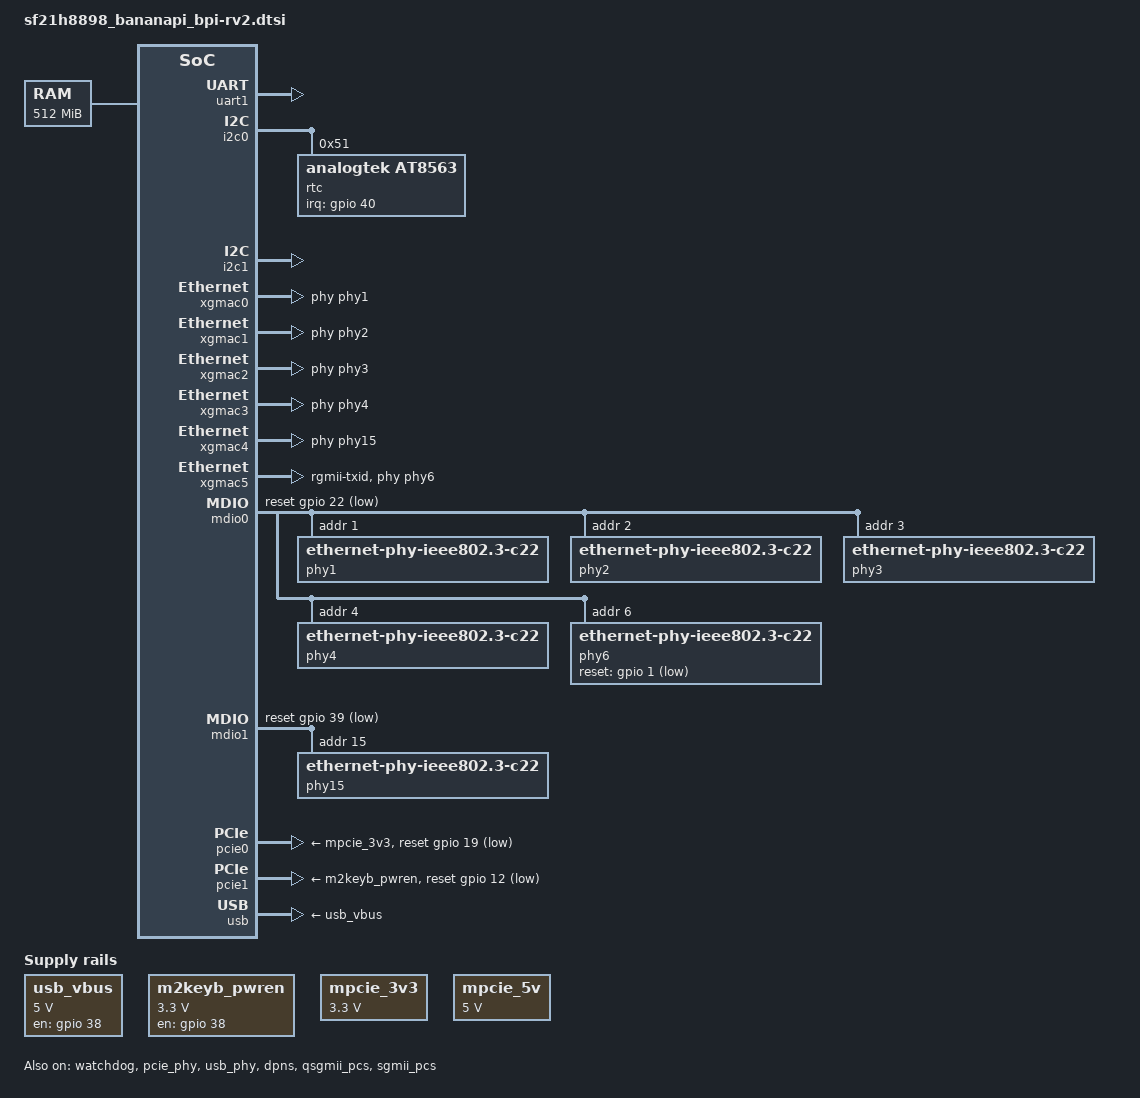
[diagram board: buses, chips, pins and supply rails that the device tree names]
// SPDX-License-Identifier: (GPL-2.0 OR MIT)
/dts-v1/;
#include "sf21h8898.dtsi"

/*
 * BPI-RV2 Board Device Tree — v3
 * Схема: BPI-RV2-V11-SCH-20241121
 * SOC: SF21H8898 (quad-core RISC-V 1.25GHz)
 *
 * ИЗМЕНЕНИЯ v3 относительно v2:
 *
 * [1] pcie0_perst_pins: FUNC_MODE2 → GPIO_MODE для GPIO15/GPIO16
 *     ПРИЧИНА: FUNC_MODE2 не документирован в User Manual v1.60 для
 *     GPIO15/16. Использование FUNC_MODE2 приводит к захвату PIN15
 *     драйвером pcie0, что блокирует I2C0 (RTC AT8563S перестаёт
 *     работать). В dmesg v2:
 *       "pin PIN15 already requested by 0.pcie; cannot claim for c100000.i2c"
 *       "i2c_designware c100000.i2c: Error applying setting"
 *     GPIO15 в GPIO_MODE с pull-up = CLKREQ# всегда HIGH (запрос clock),
 *     что для embedded достаточно — SF21 PCIe поднимает link без
 *     аппаратного clock gating. I2C0 получает свои пины обратно.
 *
 * [2] pcie0_clkreq_pin: отдельный pinctrl для GPIO15 как GPIO_MODE
 *     GPIO15 (I2C0_DAT/E1) → PCIE0_CLKREQ_N (mPCIe пин 7).
 *     Пин настроен как вход с pull-up. CLKREQ# по умолчанию HIGH
 *     = модуль запрашивает ref clock = clock всегда включён.
 *     Это стандартный режим для embedded без ASPM.
 *
 * [3] I2C0: убран pinctrl-0 конфликт
 *     I2C0 использует GPIO15/16 в FUNC_MODE0 (штатный режим).
 *     pinctrl для i2c0 назначается самим ядром из DT i2c0 узла,
 *     не нужно дублировать в pcie0. RTC AT8563S снова работает.
 *
 * [4] m2keyb_pwren: добавлен regulator-always-on
 *     ПРИЧИНА: в dmesg v2 через 32 секунды после старта:
 *       "m2keyb_pwren: disabling"
 *     Ядро выключает регулятор M.2 питания т.к. считает его
 *     неиспользуемым. FM350 теряет питание → PCIe link падает.
 *     regulator-always-on гарантирует что питание M.2 слота
 *     никогда не выключается автоматически.
 *
 * [5] pcie0: убран pcie0_perst_pins из pinctrl-0, добавлен
 *     pcie0_clkreq_pin. W_DISABLE# управляется через gpio-hog
 *     чтобы гарантировать HIGH до инициализации PCIe.
 *
 * [6] gpio-hog для W_DISABLE# (GPIO8):
 *     W_DISABLE# должен быть HIGH до снятия PERST#.
 *     gpio-hog обеспечивает это без участия драйвера.
 *
 * GPIO карта (схема BPI-RV2-V11-SCH-20241121 + User Manual v1.60):
 *  GPIO0  = EXT_CLK_IN  (P23) → PCIE0_WAKE#     (mPCIe пин 1,  IN)
 *  GPIO1  = CLK_OUT     (P1)  → 8211F_RGMII_RST (reset SF23P1211F)
 *  GPIO5  = SPI0_CSN    (L22) → CS NOR flash
 *  GPIO8  = JTAG_TDO    (G22) → PCIE0_W_DISABLE# (mPCIe пин 20, OUT)
 *  GPIO12 = JTAG_RST    (E22) → PCIE1_RST/PERST# (M.2 пин 50,  OUT)
 *  GPIO15 = I2C0_DAT    (E1)  → I2C0 SDA / PCIE0_CLKREQ# (mPCIe пин 7)
 *  GPIO16 = I2C0_CLK    (E2)  → I2C0 SCL / SMBus mPCIe пин 30
 *  GPIO19 = PWM0        (C1)  → PCIE0_PERST_N   (mPCIe пин 22, OUT)
 *  GPIO36 = SXGMII_MDIO (A5)  → CS NAND flash (GPIO_MODE)
 *  GPIO37 = SXGMII_MDC  (B5)  → SXGMII_MDC для mdio1
 *  GPIO38 = DGS_INT     (E23) → FULL_CARD_POFF_M2 (M.2 пин 6) + 5V_VBUS_EN
 *  GPIO39 = PHY_RESET_N (G1)  → nRESET_8811 (EN8811H reset)
 *  GPIO40 = PHY_INT     (G2)  → RTC AT8563S INT#
 *  GPIO10 = JTAG_TMS    (F22) → PCIE1_CLKREQ    (M.2 пин 52, IN)
 *  GPIO11 = JTAG_TCK    (G23) → PCIE1_PEWAKE    (M.2 пин 54, IN)
 */

/ {
	chosen {
		bootargs = "root=/dev/fit0 rootwait";
		stdout-path = "serial1:115200n8";
		rootdisk = <&rootdisk>;
	};

	memory@20000000 {
		device_type = "memory";
		/* 512MB DDR3 @ 0x20000000 */
		reg = <0x0 0x20000000 0x0 0x20000000>;
	};

	/*
	 * USB VBUS 5V для Type-A порта CN6.
	 * Схема P14: FL9703MR (500mA USB power switch), CE активен HIGH.
	 * GPIO38 → 5V_VBUS_EN → FL9703MR CE pin.
	 * GPIO38 разделён с FULL_CARD_POFF_M2 — физически один GPIO
	 * управляет и USB VBUS и питанием M.2 слота (схема P10).
	 */
	usb_vbus: regulator-usb-vbus {
		compatible = "regulator-fixed";
		regulator-name = "usb_vbus";
		regulator-min-microvolt = <5000000>;
		regulator-max-microvolt = <5000000>;
		gpios = <&gpio 38 GPIO_ACTIVE_HIGH>;
		enable-active-high;
	};

	/*
	 * Питание M.2 Key B слота (3V3_M2, схема P06, ETA8103 3A DCDC).
	 * FULL_CARD_POFF_M2 → GPIO38 (DGS_INT/E23) → M.2 пин 6.
	 * По стандарту M.2: пин 6 = Full_Card_Power_Off#
	 *   HIGH = питание включено (не выключать)
	 *   LOW  = выключить питание карты
	 * GPIO38 HIGH → M.2 пин 6 HIGH → питание M.2 ВКЛЮЧЕНО.
	 *
	 * regulator-always-on: КРИТИЧНО.
	 *   Без этого ядро выключает регулятор через ~32 секунды
	 *   (dmesg v2: "m2keyb_pwren: disabling"), что приводит к
	 *   потере питания FM350 и падению PCIe link.
	 *   vpcie3v3-supply в pcie1 не гарантирует удержание регулятора
	 *   если sf21-pcie драйвер не вызывает regulator_enable().
	 *
	 * regulator-boot-on: питание включается при старте до того,
	 *   как PCIe драйвер запрашивает его — нужно для правильной
	 *   инициализации FM350 (модем должен получить питание до PERST#).
	 */
	m2keyb_pwren: regulator-m2keyb {
		compatible = "regulator-fixed";
		regulator-name = "m2keyb_pwren";
		regulator-min-microvolt = <3300000>;
		regulator-max-microvolt = <3300000>;
		gpios = <&gpio 38 GPIO_ACTIVE_HIGH>;
		enable-active-high;
		regulator-always-on;
		regulator-boot-on;
	};

	/*
	 * Питание mPCIe слота 3.3V (3V3_mPCIE, схема P06, ETA8103 3A DCDC).
	 * На плате нет программного EN для 3V3_mPCIE → питание всегда
	 * подаётся при наличии 12V_SYS. Виртуальный регулятор без gpio.
	 *
	 * regulator-always-on: сообщает ядру что питание постоянно есть.
	 * regulator-boot-on: питание уже включено при старте ядра.
	 *
	 * vpcie3v3-supply в pcie0 ссылается на этот регулятор —
	 * ядро знает что 3.3V для mPCIe слота доступно и управляемо
	 * (хотя фактически оно always-on).
	 */
	mpcie_3v3: regulator-mpcie-3v3 {
		compatible = "regulator-fixed";
		regulator-name = "mpcie_3v3";
		regulator-min-microvolt = <3300000>;
		regulator-max-microvolt = <3300000>;
		regulator-always-on;
		regulator-boot-on;
	};

	/*
	 * Питание mPCIe слота 5V (5V0_mPCIE, схема P06, ETA8103 3A DCDC).
	 * Аналогично 3V3_mPCIE — нет программного EN, always-on.
	 * Нужен для vpcie5v-supply в pcie0.
	 */
	mpcie_5v: regulator-mpcie-5v {
		compatible = "regulator-fixed";
		regulator-name = "mpcie_5v";
		regulator-min-microvolt = <5000000>;
		regulator-max-microvolt = <5000000>;
		regulator-always-on;
		regulator-boot-on;
	};
};

/*
 * SPI0 пины без SPI0_CSN.
 * CSN (GPIO5) управляется через cs-gpios в dts файле.
 * GPIO36 (SXGMII_MDIO) используется как CS для NAND через cs-gpios.
 * SPI0_HOLD (GPIO6) и SPI0_WP (GPIO7) общие для обоих flash чипов.
 */
&spi0_pins {
	pinctrl-single,pins = <
		SPI0_TXD	FUNC_MODE0
		SPI0_RXD	FUNC_MODE0
		SPI0_CLK	FUNC_MODE0
		SPI0_HOLD	FUNC_MODE0
		SPI0_WP		FUNC_MODE0
	>;
};

&watchdog {
	status = "okay";
};

/*
 * UART1: основная консоль (схема P23).
 * GPIO13 (UART1_TX/D23) → HT42B534-2 (USB-UART) → USB Type-C CN4.
 * GPIO14 (UART1_RX/D22) → HT42B534-2.
 * Также выведен на 26-pin header J3 (пин 11=TX, пин 13=RX).
 */
&uart1 {
	status = "okay";
};

&iomux {
	/*
	 * RTC INT пин: GPIO40 (PHY_INT/G2) в GPIO_MODE.
	 * AT8563S INT# → GPIO40 через R131 4K7 pull-up к 3V3_CPU.
	 * Отключаем внутренний bias т.к. есть внешний pull-up.
	 */
	rtc_int_gpio: rtc-int-pins {
		pinctrl-single,pins = <PHY_INT GPIO_MODE>;
		pinctrl-single,bias-pullup   = <0 SW_PU 0 SW_PU>;
		pinctrl-single,bias-pulldown = <0 SW_PD 0 SW_PD>;
	};

	/*
	 * mPCIe CLKREQ# пин: GPIO15 (I2C0_DAT/E1) в GPIO_MODE.
	 *
	 * ПОЧЕМУ GPIO_MODE а не FUNC_MODE2:
	 *   User Manual v1.60 не документирует FUNC_MODE2 для GPIO15/16.
	 *   FUNC_MODE2 в v2 вызывал захват PIN15 pcie0 драйвером,
	 *   блокируя I2C0 (см. dmesg: "pin PIN15 already requested by 0.pcie").
	 *
	 * ПОЧЕМУ пин с pull-up достаточен:
	 *   CLKREQ# активен LOW — модуль тянет LOW чтобы запросить clock.
	 *   Pull-up держит HIGH когда модуль не вставлен или не активен.
	 *   SF21 PCIe контроллер поднимает link независимо от CLKREQ#
	 *   (ASPM не используется в OpenWrt на embedded).
	 *   Это стандартная практика: без ASPM CLKREQ# = постоянно HIGH,
	 *   ref clock всегда включён, link поднимается нормально.
	 *
	 * ПОЧЕМУ не мешает I2C0:
	 *   GPIO15 в GPIO_MODE как вход не конфликтует с I2C0 потому что
	 *   I2C0 переключает пин в FUNC_MODE0 через свой pinctrl.
	 *   Приоритет: последний кто запросил пин — тот и владеет.
	 *   I2C0 запрашивает пин при probe (модуль kmod-i2c-designware-platform),
	 *   и переключает в FUNC_MODE0. После этого пин работает как I2C0_SDA.
	 *   CLKREQ# при этом не используется аппаратно — что нормально.
	 */
	pcie0_clkreq_pin: pcie0-clkreq-pin {
		pinctrl-single,pins = <I2C0_DAT GPIO_MODE>;
		pinctrl-single,bias-pullup = <SW_PU SW_PU SW_PU SW_PU>;
	};

	/*
	 * mPCIe WAKE# пин: GPIO0 (EXT_CLK_IN/P23) в GPIO_MODE.
	 * WAKE# (mPCIe пин 1) — вход, модуль тянет LOW чтобы разбудить хост.
	 * REF_CLK_SEL = LOW (по схеме P10) → GPIO0 не используется как
	 * внешний ref clock → можно переключить в GPIO_MODE.
	 * Pull-up: WAKE# по умолчанию HIGH = нет запроса wake.
	 */
	pcie0_wake_pin: pcie0-wake-pin {
		pinctrl-single,pins = <EXT_CLK_IN GPIO_MODE>;
		pinctrl-single,bias-pullup = <SW_PU SW_PU SW_PU SW_PU>;
	};

	/*
	 * mPCIe W_DISABLE# пин: GPIO8 (JTAG_TDO/G22) в GPIO_MODE.
	 * W_DISABLE# (mPCIe пин 20) — выход SOC, управляет радио модуля.
	 *   HIGH = радио включено (нормальная работа)
	 *   LOW  = радио выключено (для compliance/RF kill)
	 * Pull-up гарантирует HIGH до явного управления GPIO.
	 * gpio-hog в pcie0 узле выставит HIGH явно при старте.
	 *
	 * GPIO8 по умолчанию FUNC_MODE0 = JTAG_TDO с pull-up.
	 * Переводим в GPIO_MODE — JTAG не используется в production.
	 */
	pcie0_wdisable_pin: pcie0-wdisable-pin {
		pinctrl-single,pins = <JTAG_TDO GPIO_MODE>;
		pinctrl-single,bias-pullup = <SW_PU SW_PU SW_PU SW_PU>;
	};

	/*
	 * M.2 Key B PERST# пин: GPIO12 (JTAG_RST/E22) в GPIO_MODE.
	 * PERST# (M.2 пин 50) — выход SOC, сброс PCIe устройства.
	 * Active LOW: LOW = устройство в сбросе, HIGH = нормальная работа.
	 */
	pcie1_perst_pin: pcie1-perst-pin {
		pinctrl-single,pins = <JTAG_RST GPIO_MODE>;
	};

	/*
	 * M.2 Key B CLKREQ# пин: GPIO10 (JTAG_TMS/F22) в GPIO_MODE.
	 * CLKREQ# (M.2 пин 52) — вход от модема, управление ref clock.
	 * Active LOW: модем тянет LOW чтобы запросить ref clock.
	 * Pull-up: по умолчанию HIGH = нет запроса (clock можно выключить).
	 * Для FM350 без ASPM — всегда LOW, clock всегда включён.
	 */
	pcie1_clkreq_pin: pcie1-clkreq-pin {
		pinctrl-single,pins = <JTAG_TMS GPIO_MODE>;
		pinctrl-single,bias-pullup = <SW_PU SW_PU SW_PU SW_PU>;
	};

	/*
	 * M.2 Key B PEWAKE# пин: GPIO11 (JTAG_TCK/G23) в GPIO_MODE.
	 * PEWAKE# (M.2 пин 54) — вход от модема, запрос выхода из D3/sleep.
	 * Active LOW: модем тянет LOW чтобы разбудить систему.
	 * Pull-up: по умолчанию HIGH = нет запроса wake.
	 */
	pcie1_wake_pin: pcie1-wake-pin {
		pinctrl-single,pins = <JTAG_TCK GPIO_MODE>;
		pinctrl-single,bias-pullup = <SW_PU SW_PU SW_PU SW_PU>;
	};

	/*
	 * 26-pin GPIO Header J3 дополнительные пины.
	 * GPIO20 (PWM1/C2) — header пин 7, используется как GPIO/PWM.
	 */
	header_gpio_pins: header-gpio-pins {
		pinctrl-single,pins = <
			PWM1		GPIO_MODE
		>;
	};
};

/*
 * I2C0: GPIO15 (I2C0_DAT/E1) и GPIO16 (I2C0_CLK/E2).
 * Устройства на шине: RTC AT8563S @ 0x51.
 *
 * Конфликт с pcie0 CLKREQ# разрешён в v3:
 *   - pcie0_clkreq_pin переводит GPIO15 в GPIO_MODE с pull-up
 *   - I2C0 при probe запрашивает GPIO15/16 и переключает в FUNC_MODE0
 *   - После этого GPIO15 работает как I2C0_SDA
 *   - PCIe link поднимается без аппаратного CLKREQ# (ASPM отключён)
 *
 * SMBus mPCIe слота (пины 30/32) физически подключён к тем же
 * GPIO15/16 → I2C0 обслуживает и RTC и SMBus mPCIe.
 * На слоте CN3 нет SMBus устройств по умолчанию.
 *
 * I2C1 (GPIO17/18) выведен на header J3 (пины 3=SDA, 5=SCL).
 */
&i2c0 {
	status = "okay";

	/*
	 * RTC AT8563S (совместим с PCF8563), адрес I2C 0x51.
	 * Схема P24: питается от 3V3_RTC (батарейка CR1220 CN5 + диод D7).
	 * INT# → GPIO40 (PHY_INT/G2) через R131 4K7 pull-up к 3V3_CPU.
	 * CLKOUT → сеть 32KOUT → M.2 пин 68 (SUSCLK 32.768kHz для FM350).
	 * #clock-cells = <0>: RTC предоставляет 32kHz clock другим узлам.
	 */
	rtc: rtc@51 {
		compatible = "analogtek,at8563", "nxp,pcf8563";
		reg = <0x51>;
		#clock-cells = <0>;
		interrupts-extended = <&gpio 40 IRQ_TYPE_LEVEL_LOW>;
		pinctrl-names = "default";
		pinctrl-0 = <&rtc_int_gpio>;
	};
};

/*
 * I2C1: GPIO17 (I2C1_DAT/D1) и GPIO18 (I2C1_CLK/D2).
 * Выведен на 26-pin header J3 (пин 3 = SDA, пин 5 = SCL).
 * На плате ничего не подключено — доступен для внешних устройств.
 */
&i2c1 {
	status = "okay";
};

/* ============================================================
 * Ethernet
 * xgmac0..3: QSGMII → SF23P1240 (4x 1GE LAN, PHY addr 1-4)
 * xgmac4:    SXGMII → EN8811H  (2.5GE WAN, PHY addr 7=0xf)
 * xgmac5:    RGMII  → SF23P1211F (1GE LAN, PHY addr 6)
 * ============================================================ */

&xgmac0 {
	status = "okay";
	phy-handle = <&phy1>;
	nvmem-cells = <&macaddr_factory_0 0>;
	nvmem-cell-names = "mac-address";
};

&xgmac1 {
	status = "okay";
	phy-handle = <&phy2>;
	nvmem-cells = <&macaddr_factory_0 0>;
	nvmem-cell-names = "mac-address";
};

&xgmac2 {
	status = "okay";
	phy-handle = <&phy3>;
	nvmem-cells = <&macaddr_factory_0 0>;
	nvmem-cell-names = "mac-address";
};

&xgmac3 {
	status = "okay";
	phy-handle = <&phy4>;
	nvmem-cells = <&macaddr_factory_0 0>;
	nvmem-cell-names = "mac-address";
};

/*
 * xgmac4: SXGMII → EN8811H (2.5GE WAN).
 * PHY addr 7 (0xf) — схема P19: PHYAD[2:0] = 3'b111 (default).
 * SXGMII MDIO/MDC = GPIO36/37 (SXGMII_MDIO/MDC) → управляется через mdio1.
 * /delete-property/ pinctrl-0: убираем mac4_mdio_pins из sf21.dtsi
 * т.к. MDIO для EN8811H теперь через mdio1, а не через xgmac4 pinctrl.
 */
&xgmac4 {
	status = "okay";
	phy-handle = <&phy15>;
	nvmem-cells = <&macaddr_factory_0 1>;
	nvmem-cell-names = "mac-address";
	mac-address-increment = <1>;
	/delete-property/ pinctrl-0;
};

/*
 * xgmac5: RGMII → SF23P1211F (1GE LAN).
 * PHY addr 6 — схема P15: RXD3/PHYAD0=0, RXC/PHYAD1=1, RXCTL/PHYAD2=1.
 * RGMII delay: txid режим (задержка TX на стороне MAC, не PHY).
 * tx-internal-delay-ps = 2499 ≈ 2.5ns, rx-internal-delay-ps = 1519 ≈ 1.5ns.
 */
&xgmac5 {
	status = "okay";
	tx-internal-delay-ps = <2499>;
	rx-internal-delay-ps = <1519>;
	phy-mode = "rgmii-txid";
	phy-handle = <&phy6>;
	nvmem-cells = <&macaddr_factory_0 0>;
	nvmem-cell-names = "mac-address";
};

/*
 * mdio0: QSGMII_MDC/MDIO (GPIO35/34, пины N1/N2).
 * Управляет SF23P1240 (PHY 1-4, 4x1G LAN) и SF23P1211F (PHY 6, 1G LAN).
 * reset-gpios: P1240_nRESET → GPIO22 (RGMII_TXCLK/V2), active LOW.
 * Схема P17: P1240_nRESET [13] → GPIO22.
 */
&mdio0 {
	reset-gpios = <&gpio 22 GPIO_ACTIVE_LOW>;
	reset-delay-us = <10000>;
	reset-post-delay-us = <100000>;

	/* SF23P1240 порт 0, PHY addr 1 (схема P17, P18) */
	phy1: ethernet-phy@1 {
		compatible = "ethernet-phy-ieee802.3-c22";
		reg = <0x1>;
	};

	/* SF23P1240 порт 1, PHY addr 2 */
	phy2: ethernet-phy@2 {
		compatible = "ethernet-phy-ieee802.3-c22";
		reg = <0x2>;
	};

	/* SF23P1240 порт 2, PHY addr 3 */
	phy3: ethernet-phy@3 {
		compatible = "ethernet-phy-ieee802.3-c22";
		reg = <0x3>;
	};

	/* SF23P1240 порт 3, PHY addr 4 */
	phy4: ethernet-phy@4 {
		compatible = "ethernet-phy-ieee802.3-c22";
		reg = <0x4>;
	};

	/*
	 * SF23P1211F PHY addr 6.
	 * reset-gpios: 8211F_RGMII_RST → GPIO1 (CLK_OUT/P1), active LOW.
	 * Схема P10: 8211F_RGMII_RST → GPIO1 (8898_GPIO1).
	 */
	phy6: ethernet-phy@6 {
		compatible = "ethernet-phy-ieee802.3-c22";
		reg = <0x6>;
		reset-gpios = <&gpio 1 GPIO_ACTIVE_LOW>;
		reset-assert-us = <10000>;
		reset-deassert-us = <100000>;
	};
};

/*
 * mdio1: SXGMII_MDC/MDIO (GPIO37/36, пины B5/A5) для EN8811H.
 * Физически MDC_8811H и MDIO_8811H подключены к SXGMII_MDC/MDIO.
 * Схема P13: GPIO36=SXGMII_MDIO → MDIO_8811H, GPIO37=SXGMII_MDC → MDC_8811H.
 * reset-gpios: nRESET_8811 → GPIO39 (PHY_RESET_N/G1), active LOW.
 * PHY addr 7 (0xf) — схема P19: strapping 3'b111 (default).
 *
 * ВАЖНО: GPIO36 (SXGMII_MDIO) в dts файле используется как CS для
 * NAND flash через cs-gpios. MDIO и GPIO CS работают в разное время
 * (MDIO при инициализации PHY, CS при доступе к SPI). Конфликт
 * маловероятен но требует проверки если ENS8811H не инициализируется.
 */
&mdio1 {
	reset-gpios = <&gpio 39 GPIO_ACTIVE_LOW>;
	reset-delay-us = <10000>;
	reset-post-delay-us = <100000>;

	phy15: ethernet-phy@f {
		compatible = "ethernet-phy-ieee802.3-c22";
		reg = <0xf>;
	};
};

/* ============================================================
 * PCIe
 * ============================================================ */

/* PCIe PHY должен быть включён до pcie0/pcie1 */
&pcie_phy {
	status = "okay";
};

/*
 * PCIE0 → mPCIe слот CN3 (схема P22).
 *
 * Как должен работать mPCIe слот (аналог ноутбука):
 *   1. При подаче питания платы: 3V3_mPCIE и 5V0_mPCIE всегда включены
 *      (нет программного EN для этих цепей на BPI-RV2).
 *   2. PERST# (GPIO19) удерживается LOW (сброс) пока ядро не снимет его.
 *   3. W_DISABLE# (GPIO8) выставляется HIGH (радио разрешено) ДО снятия PERST#.
 *   4. CLKREQ# (GPIO15) удерживается HIGH pull-up'ом (clock запрошен всегда).
 *      Без ASPM ref clock всегда включён.
 *   5. Ядро включает регуляторы vpcie3v3 и vpcie5v (сообщает о них).
 *   6. Ядро снимает PERST# → модуль инициализируется → link поднимается.
 *   7. WAKE# (GPIO0) — вход, модуль может разбудить хост.
 *
 * Сигнальная таблица (схема P22, P10):
 *   PERST#      → GPIO19 (PWM0/C1)      → mPCIe пин 22  [OUT, active LOW]
 *   CLKREQ#     ← GPIO15 (I2C0_DAT/E1) ← mPCIe пин 7   [IN,  active LOW]
 *   WAKE#       ← GPIO0  (EXT_CLK/P23) ← mPCIe пин 1   [IN,  active LOW]
 *   W_DISABLE#  → GPIO8  (JTAG_TDO/G22)→ mPCIe пин 20  [OUT, active LOW]
 *   REFCLKp/n   →                       → mPCIe пин 13/11 [OUT, diff pair]
 *   PETp/PETn   →                       → mPCIe пин 33/31 [OUT, diff pair]
 *   PERp/PERn   ←                       ← mPCIe пин 25/23 [IN,  diff pair]
 *   USB D+/D-   ↔                       ↔ mPCIe пин 38/36 [BIDIR]
 *   SMBus CLK   ↔ GPIO16 (I2C0_CLK/E2) ↔ mPCIe пин 30  [BIDIR, через I2C0]
 *   SMBus DATA  ↔ GPIO15 (I2C0_DAT/E1) ↔ mPCIe пин 32  [BIDIR, через I2C0]
 *   3.3V        →                       → mPCIe пины 2,24,39,41 [POWER]
 *   5V          →                       → mPCIe пин 48          [POWER]
 *
 * pinctrl-0:
 *   pcie0_clkreq_pin: GPIO15 в GPIO_MODE с pull-up.
 *     Не блокирует I2C0 (I2C0 перезахватит пин при своём probe).
 *   pcie0_wake_pin:   GPIO0  в GPIO_MODE с pull-up.
 *   pcie0_wdisable_pin: GPIO8 в GPIO_MODE с pull-up.
 *
 * wake-gpios: WAKE# через GPIO0, active LOW.
 * vpcie3v3-supply: сообщает ядру о 3.3V питании слота.
 * vpcie5v-supply:  сообщает ядру о 5V питании слота.
 *
 * gpio-hog "w-disable":
 *   Явно выставляет GPIO8 HIGH при инициализации GPIO контроллера,
 *   ДО того как PCIe драйвер снимет PERST#. Это гарантирует что
 *   WiFi модуль увидит W_DISABLE# HIGH при старте и включит радио.
 *   line-name и gpios: GPIO8 = JTAG_TDO, output-high.
 */
&pcie0 {
	reset-gpios = <&gpio 19 GPIO_ACTIVE_LOW>;
	wake-gpios   = <&gpio 0  GPIO_ACTIVE_LOW>;
	pinctrl-names = "default";
	pinctrl-0 = <&pcie0_clkreq_pin
		     &pcie0_wake_pin
		     &pcie0_wdisable_pin>;
	vpcie3v3-supply = <&mpcie_3v3>;
	vpcie5v-supply  = <&mpcie_5v>;
	status = "okay";

	/*
	 * gpio-hog для W_DISABLE# (GPIO8 / JTAG_TDO / пин G22).
	 * Выставляет HIGH при старте системы, до PCIe инициализации.
	 * Это аналог того как ноутбучный BIOS держит W_DISABLE# HIGH
	 * пока не загрузится OS и не возьмёт управление на себя.
	 *
	 * gpios = <8 GPIO_ACTIVE_LOW>: GPIO8, логика active LOW.
	 * output-high: выставить логически HIGH → физически HIGH
	 *   (т.к. GPIO_ACTIVE_LOW, output-high = физический HIGH = W_DIS# HIGH).
	 *
	 * ПРИМЕЧАНИЕ: если gpio-hog конфликтует с pinctrl-0 на конкретном
	 * ядре SF21 — можно убрать gpio-hog и положиться на pull-up в
	 * pcie0_wdisable_pin. Pull-up гарантирует HIGH по умолчанию.
	 */
	w-disable-hog {
		gpio-hog;
		gpios = <8 GPIO_ACTIVE_LOW>;
		output-high;
		line-name = "pcie0-w-disable";
	};
};

/*
 * PCIE1 → M.2 Key B слот CN1 (схема P21).
 *
 * Последовательность инициализации FM350:
 *   1. GPIO38 HIGH → Full_Card_Power_Off# HIGH → 3V3_M2 включено
 *      (regulator-boot-on + regulator-always-on в m2keyb_pwren).
 *   2. ядро обрабатывает vpcie3v3-supply → убеждается что питание есть.
 *   3. PEWAKE# (GPIO11) → вход с pull-up, FM350 может разбудить хост.
 *   4. CLKREQ# (GPIO10) → вход с pull-up, FM350 управляет ref clock.
 *   5. ядро снимает PERST# (GPIO12 → HIGH) → FM350 инициализируется.
 *   6. PCIe Gen.2 x1 link поднимается (как в dmesg: "sf21-pcie 4000000.pcie: PCIe Gen.2 x1 link up").
 *
 * Сигнальная таблица (схема P21, P10):
 *   PERST#             → GPIO12 (JTAG_RST/E22) → M.2 пин 50  [OUT, active LOW]
 *   CLKREQ#            ← GPIO10 (JTAG_TMS/F22) ← M.2 пин 52  [IN,  active LOW]
 *   PEWAKE#            ← GPIO11 (JTAG_TCK/G23) ← M.2 пин 54  [IN,  active LOW]
 *   Full_Card_Power_Off → GPIO38 (DGS_INT/E23)  → M.2 пин 6   [OUT, HIGH=power on]
 *   REFCLKp/n          →                         → M.2 пин 55/53 [OUT, diff pair]
 *   PETp/PETn          →                         → M.2 пин 37/35 [OUT, diff pair]
 *   PERp/PERn          ←                         ← M.2 пин 31/29 [IN,  diff pair]
 *   USB D+/D-          ↔                         ↔ M.2 пин 7/9   [BIDIR, через FE1.1s]
 *   SUSCLK 32kHz       ←  RTC CLKOUT (AT8563S)  → M.2 пин 68   [OUT от RTC]
 *   3.3V               →                         → M.2 пин 70,72,74 [POWER]
 *
 * vpcie3v3-supply: питание M.2 слота через m2keyb_pwren (GPIO38).
 *   regulator-always-on в m2keyb_pwren гарантирует что питание
 *   не выключится (исправляет "m2keyb_pwren: disabling" из dmesg v2).
 */
&pcie1 {
	reset-gpios = <&gpio 12 GPIO_ACTIVE_LOW>;
	wake-gpios   = <&gpio 11 GPIO_ACTIVE_LOW>;
	pinctrl-names = "default";
	pinctrl-0 = <&pcie1_perst_pin
		     &pcie1_clkreq_pin
		     &pcie1_wake_pin>;
	vpcie3v3-supply = <&m2keyb_pwren>;
	status = "okay";
};

/* ============================================================
 * USB
 * ============================================================ */

&usb_phy {
	status = "okay";
};

/*
 * USB контроллер (DWC2 OTG, host mode).
 * SOC USB → FE1.1s USB 2.0 HUB (схема P25, 4 порта):
 *   Порт 1: USB Type-A CN6 (внешний, 5V от FL9703MR через GPIO38)
 *   Порт 2: M.2 Key B слот (USB_M2_DP/DM → M.2 пин 7/9)
 *   Порт 3: mPCIe слот (USB_mPCIE_DP/DM → mPCIe пин 38/36)
 *   Порт 4: не используется
 * vbus-supply: управляет 5V на Type-A CN6 через GPIO38/FL9703MR.
 */
&usb {
	vbus-supply = <&usb_vbus>;
	status = "okay";
};

/* ============================================================
 * Networking subsystems
 * ============================================================ */

/* NPU для аппаратного форвардинга пакетов */
&dpns {
	status = "okay";
};

/* DMA движок для Ethernet */
&edma {
	status = "okay";
};

/* PCS для QSGMII (4x1G LAN через SF23P1240) */
&qsgmii_pcs {
	status = "okay";
};

/* PCS для SGMII/HSGMII (2.5G WAN через EN8811H) */
&sgmii_pcs {
	status = "okay";
};
